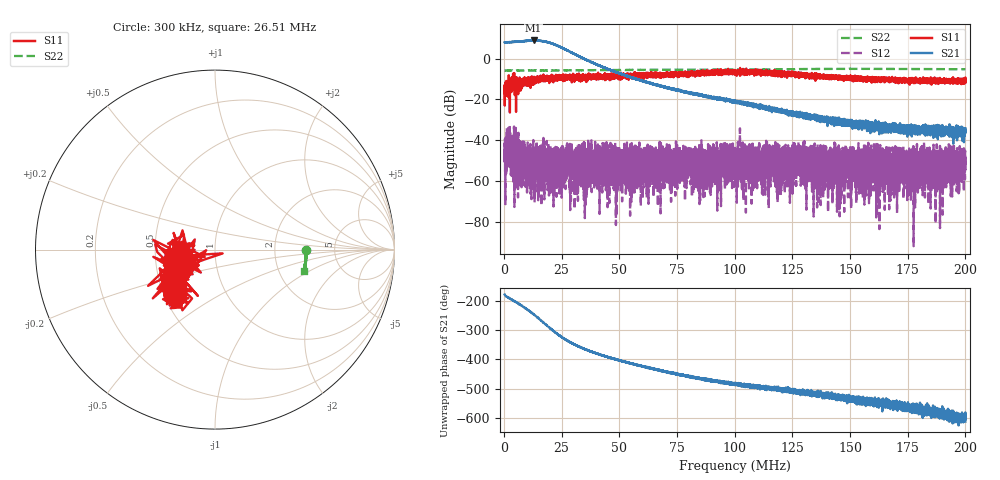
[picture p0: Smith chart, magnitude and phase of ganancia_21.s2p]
# Hz S DB R 50
! CMT, M5065, 19127446, 24.2.4/2
! Date: 11/8/2024 5:05:51 PM
! Data: Format (Calibration Info)
! Freq	S11:dB/Ang(F2)	S21:dB/Ang(F2)	S12:dB/Ang(F2)	S22:dB/Ang(F2)
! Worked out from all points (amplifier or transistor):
!   9000 points, 300 kHz to 200 MHz, reference 50 ohm
!   highest |S21| = 8.9 dB at 12.84 MHz (marker M1)
!   |S21| within 3 dB of that: start of sweep to 24.03 MHz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
!   unconditionally stable (mu >= 1): start of sweep to end of sweep
!   at 33.59 MHz: K = 138.20, MAG = 2.5 dB, |S12| = -53.3 dB
!   at 100.2 MHz: K = 864.10, MAG = -19.3 dB, |S12| = -48.0 dB
!   at 200 MHz: K = 5900.71, MAG = -32.3 dB, |S12| = -51.0 dB
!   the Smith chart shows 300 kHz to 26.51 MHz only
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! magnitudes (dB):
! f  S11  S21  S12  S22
! 300 kHz  -14.6  7.9  -51.0  -5.9
! 1.92 MHz  -13.4  8.0  -49.8  -5.9
! 3.873 MHz  -12.3  8.1  -52.5  -5.9
! 5.692 MHz  -14.0  8.3  -40.8  -5.9
! 12.84 MHz  -9.0  8.9  -51.9  -5.9
! 33.59 MHz  -8.5  0.5  -53.3  -5.8
! 35.7 MHz  -11.5  -0.8  -58.1  -5.8
! 40.42 MHz  -9.0  -3.1  -53.7  -5.7
! 66.87 MHz  -8.1  -13.2  -46.3  -5.5
! 70.71 MHz  -7.3  -14.5  -55.4  -5.5
! 87.38 MHz  -7.1  -18.2  -46.7  -5.5
! 100.2 MHz  -6.7  -21.8  -48.0  -5.4
! 133.4 MHz  -8.5  -29.6  -53.8  -5.1
! 143.7 MHz  -9.3  -31.6  -56.7  -5.1
! 145.3 MHz  -8.9  -30.9  -50.4  -5.1
! 148.8 MHz  -9.3  -32.3  -53.9  -5.1
! 166.7 MHz  -10.1  -34.5  -51.5  -5.1
! 178.5 MHz  -10.8  -34.4  -51.8  -5.2
! 181.1 MHz  -10.4  -35.7  -42.9  -5.2
! 190.8 MHz  -10.4  -36.2  -47.3  -5.2
! 192.7 MHz  -11.1  -36.3  -44.7  -5.2
! 200 MHz  -11.6  -34.2  -51.0  -5.3
